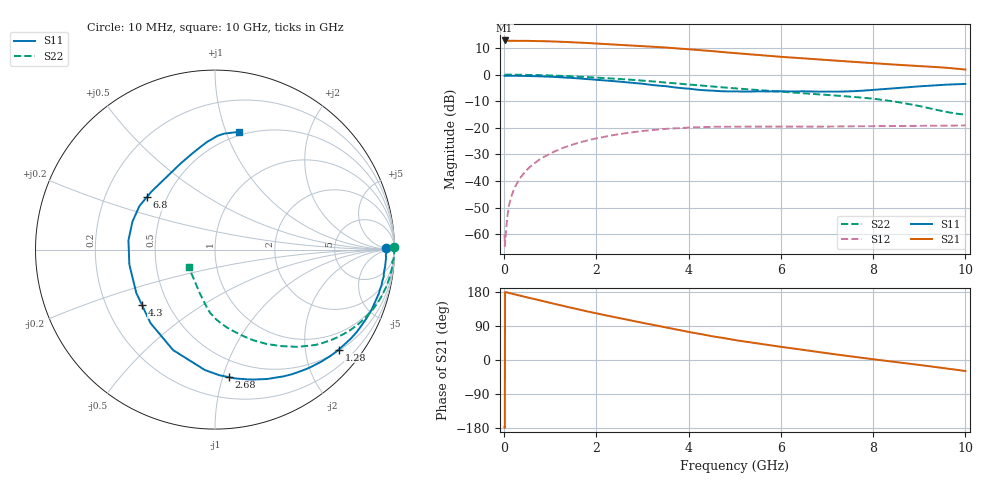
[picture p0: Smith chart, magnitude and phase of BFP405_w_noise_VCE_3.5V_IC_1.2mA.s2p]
! Infineon Technologies  Discrete & RF Semiconductors
! BFP405
! VCE =  3.5 V,  IC =  1.2 mA
! Common Emitter S-Parameters:  Jan 2016
# GHz  S  MA  R  50
!  f  S11  S21  S12  S22
! GHz  MAG  ANG  MAG  ANG  MAG  ANG  MAG  ANG
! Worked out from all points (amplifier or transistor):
!   233 points, 10 MHz to 10 GHz, reference 50 ohm
!   highest |S21| = 12.8 dB at 10 MHz (marker M1)
!   |S21| within 3 dB of that: start of sweep to 3.753 GHz
!   unconditionally stable (mu >= 1): 5.026 GHz to end of sweep
!   at 200 MHz: K = 0.05, MSG = 28.2 dB, |S12| = -43.7 dB
!   at 1.74 GHz: K = 0.23, MSG = 18.5 dB, |S12| = -25.0 dB
!   at 10 GHz: K = 1.90, MAG = 5.1 dB, |S12| = -19.1 dB
!   lowest NFmin = 0.75 dB at 900 MHz
!   S11 on the Smith chart (normalised r, x): 10 MHz: 39, +7; 1.28 GHz: 0.53, -2.74; 2.68 GHz: 0.36, -1.05; 4.3 GHz: 0.36, -0.30; 6.8 GHz: 0.39, +0.29; 10 GHz: 0.47, +1.11
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0.01  0.9512 0.5  4.378 -177.4  0.001 -9.1  1 0.7
0.015  0.9546 -0.1  4.341 -179.2  0.0006 23.7  0.9973 0.5
0.02  0.958 -0.6  4.309 179.0  0.0007 74.4  0.9947 0.2
0.07  0.9529 -2.1  4.305 177.9  0.0022 87.1  0.9982 -0.8
0.13  0.953 -3.8  4.315 176.1  0.0043 86.4  0.9971 -2.0
0.34  0.9493 -10.1  4.306 170.1  0.0112 84.4  0.993 -5.3
0.8  0.9278 -24.1  4.256 156.6  0.0265 77.2  0.9755 -12.5
1.28  0.8865 -38.9  4.121 142.8  0.0422 68.7  0.9445 -20.0
1.68  0.8422 -51.4  3.977 131.7  0.0544 61.5  0.9106 -25.8
2.2  0.7772 -68.1  3.76 118.0  0.0689 52.4  0.8603 -32.9
2.68  0.7144 -83.9  3.558 106.0  0.0804 44.3  0.8085 -39.2
3  0.6733 -94.8  3.434 98.1  0.0873 38.9  0.7725 -43.4
3.4  0.6151 -108.8  3.259 88.5  0.0939 32.3  0.7231 -48.3
4  0.5447 -131.3  3.004 74.1  0.1013 23.2  0.6523 -55.5
4.3  0.5106 -142.8  2.85 67.6  0.1031 19.0  0.6197 -58.9
4.5  0.5006 -151.2  2.77 62.9  0.1046 16.3  0.5993 -61.3
5.1  0.4815 -173.4  2.491 50.8  0.1057 9.4  0.5443 -67.5
6  0.4857 161.3  2.158 34.8  0.1052 2.0  0.4784 -75.5
6.8  0.4793 142.4  1.932 21.3  0.1056 -2.7  0.4277 -82.9
7.6  0.4894 121.9  1.729 8.2  0.107 -6.8  0.3792 -90.4
8.4  0.5483 103.7  1.555 -4.0  0.1081 -10.9  0.3178 -99.0
10  0.6688 78.7  1.246 -29.1  0.1109 -16.8  0.1768 -146.0
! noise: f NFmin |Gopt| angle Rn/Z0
0.9  0.75  0.69  15  0.52
1.8  1.17  0.55  31  0.46
2.4  1.43  0.45  42  0.42
3  1.52  0.46  56  0.39
4  1.76  0.33  84  0.29
5  2.09  0.3  121  0.2
